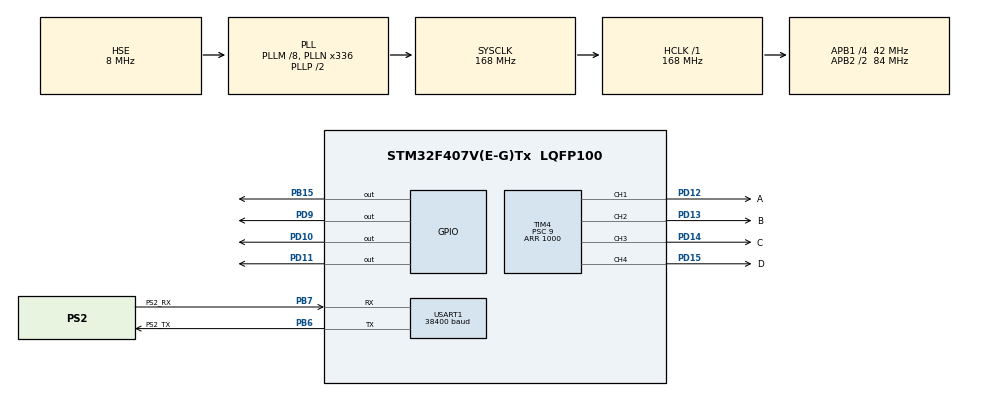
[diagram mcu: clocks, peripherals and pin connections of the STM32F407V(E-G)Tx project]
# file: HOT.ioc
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Dma.Request0=USART1_RX
Dma.USART1_RX.0.Direction=DMA_PERIPH_TO_MEMORY
Dma.USART1_RX.0.FIFOMode=DMA_FIFOMODE_DISABLE
Dma.USART1_RX.0.Instance=DMA2_Stream2
Dma.USART1_RX.0.MemDataAlignment=DMA_MDATAALIGN_BYTE
Dma.USART1_RX.0.MemInc=DMA_MINC_ENABLE
Dma.USART1_RX.0.Mode=DMA_CIRCULAR
Dma.USART1_RX.0.PeriphDataAlignment=DMA_PDATAALIGN_BYTE
Dma.USART1_RX.0.PeriphInc=DMA_PINC_DISABLE
Dma.USART1_RX.0.Priority=DMA_PRIORITY_LOW
Mcu.Family=STM32F4
Mcu.Name=STM32F407V(E-G)Tx
Mcu.Package=LQFP100
NVIC.DMA2_Stream2_IRQn=true\:0\:0\:false\:false\:true\:false
NVIC.PriorityGroup=NVIC_PRIORITYGROUP_4
NVIC.TIM6_DAC_IRQn=true\:0\:0\:false\:false\:true\:true
NVIC.USART1_IRQn=true\:0\:0\:false\:false\:true\:true
PB15.GPIO_ModeDefaultOutputPP=GPIO_MODE_OUTPUT_PP
PB15.GPIO_PuPd=GPIO_NOPULL
PB15.GPIO_Speed=GPIO_SPEED_FREQ_VERY_HIGH
PB15.Signal=GPIO_Output
PB6.GPIO_Label=PS2_TX
PB6.GPIO_PuPd=GPIO_PULLUP
PB6.Mode=Asynchronous
PB6.Signal=USART1_TX
PB7.GPIO_Label=PS2_RX
PB7.GPIO_PuPd=GPIO_PULLUP
PB7.Mode=Asynchronous
PB7.Signal=USART1_RX
PD10.GPIO_ModeDefaultOutputPP=GPIO_MODE_OUTPUT_PP
PD10.GPIO_PuPd=GPIO_NOPULL
PD10.GPIO_Speed=GPIO_SPEED_FREQ_VERY_HIGH
PD10.Signal=GPIO_Output
PD11.GPIO_ModeDefaultOutputPP=GPIO_MODE_OUTPUT_PP
PD11.GPIO_PuPd=GPIO_NOPULL
PD11.GPIO_Speed=GPIO_SPEED_FREQ_VERY_HIGH
PD11.Signal=GPIO_Output
PD12.GPIO_Label=A
PD12.GPIO_ModeDefaultPP=GPIO_MODE_AF_PP
PD12.GPIO_PuPd=GPIO_NOPULL
PD12.GPIO_Speed=GPIO_SPEED_FREQ_VERY_HIGH
PD12.Signal=S_TIM4_CH1
PD13.GPIO_Label=B
PD13.GPIO_ModeDefaultPP=GPIO_MODE_AF_PP
PD13.GPIO_PuPd=GPIO_NOPULL
PD13.GPIO_Speed=GPIO_SPEED_FREQ_VERY_HIGH
PD13.Signal=S_TIM4_CH2
PD14.GPIO_Label=C
PD14.GPIO_ModeDefaultPP=GPIO_MODE_AF_PP
PD14.GPIO_PuPd=GPIO_NOPULL
PD14.GPIO_Speed=GPIO_SPEED_FREQ_VERY_HIGH
PD14.Signal=S_TIM4_CH3
PD15.GPIO_Label=D
PD15.GPIO_ModeDefaultPP=GPIO_MODE_AF_PP
PD15.GPIO_PuPd=GPIO_NOPULL
PD15.GPIO_Speed=GPIO_SPEED_FREQ_VERY_HIGH
PD15.Signal=S_TIM4_CH4
PD9.GPIO_ModeDefaultOutputPP=GPIO_MODE_OUTPUT_PP
PD9.GPIO_PuPd=GPIO_NOPULL
PD9.GPIO_Speed=GPIO_SPEED_FREQ_VERY_HIGH
PD9.Signal=GPIO_Output
PH0-OSC_IN.Mode=HSE-External-Oscillator
PH0-OSC_IN.Signal=RCC_OSC_IN
PH1-OSC_OUT.Mode=HSE-External-Oscillator
PH1-OSC_OUT.Signal=RCC_OSC_OUT
ProjectManager.HeapSize=0x200
ProjectManager.StackSize=0x400
ProjectManager.TargetToolchain=EWARM V8
RCC.48MHZClocksFreq_Value=84000000
RCC.AHBFreq_Value=168000000
RCC.APB1CLKDivider=RCC_HCLK_DIV4
RCC.APB1Freq_Value=42000000
RCC.APB1TimFreq_Value=84000000
RCC.APB2CLKDivider=RCC_HCLK_DIV2
RCC.APB2Freq_Value=84000000
RCC.APB2TimFreq_Value=168000000
RCC.CortexFreq_Value=168000000
RCC.HCLKFreq_Value=168000000
RCC.HSE_VALUE=8000000
RCC.HSI_VALUE=16000000
RCC.LSE_VALUE=32768
RCC.PLLM=8
RCC.PLLN=336
RCC.PLLSourceVirtual=RCC_PLLSOURCE_HSE
RCC.SYSCLKFreq_VALUE=168000000
RCC.SYSCLKSource=RCC_SYSCLKSOURCE_PLLCLK
RCC.VCOOutputFreq_Value=336000000
SH.S_TIM4_CH1.0=TIM4_CH1,PWM Generation1 CH1
SH.S_TIM4_CH2.0=TIM4_CH2,PWM Generation2 CH2
SH.S_TIM4_CH3.0=TIM4_CH3,PWM Generation3 CH3
SH.S_TIM4_CH4.0=TIM4_CH4,PWM Generation4 CH4
TIM4.Channel-PWM\ Generation1\ CH1=TIM_CHANNEL_1
TIM4.Channel-PWM\ Generation2\ CH2=TIM_CHANNEL_2
TIM4.Channel-PWM\ Generation3\ CH3=TIM_CHANNEL_3
TIM4.Channel-PWM\ Generation4\ CH4=TIM_CHANNEL_4
TIM4.Period=1000
TIM4.Prescaler=9
TIM6.Period=999
TIM6.Prescaler=84
USART1.BaudRate=38400
USART1.VirtualMode=VM_ASYNC
VP_TIM4_VS_ClockSourceINT.Mode=Internal
VP_TIM6_VS_ClockSourceINT.Mode=Enable_Timer
VP_TIM7_VS_ClockSourceINT.Mode=Enable_Timer
board=custom

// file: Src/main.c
/**
******************************************************************************
* @file           : main.c
* @brief          : Main program body
******************************************************************************
** This notice applies to any and all portions of this file
* that are not between comment pairs USER CODE BEGIN and
* USER CODE END. Other portions of this file, whether
* inserted by the user or by software development tools
* are owned by their respective copyright owners.
*
* COPYRIGHT(c) 2018 STMicroelectronics
*
* Redistribution and use in source and binary forms, with or without modification,
* are permitted provided that the following conditions are met:
*   1. Redistributions of source code must retain the above copyright notice,
*      this list of conditions and the following disclaimer.
*   2. Redistributions in binary form must reproduce the above copyright notice,
*      this list of conditions and the following disclaimer in the documentation
*      and/or other materials provided with the distribution.
*   3. Neither the name of STMicroelectronics nor the names of its contributors
*      may be used to endorse or promote products derived from this software
*      without specific prior written permission.
*
* THIS SOFTWARE IS PROVIDED BY THE COPYRIGHT HOLDERS AND CONTRIBUTORS "AS IS"
* AND ANY EXPRESS OR IMPLIED WARRANTIES, INCLUDING, BUT NOT LIMITED TO, THE
* IMPLIED WARRANTIES OF MERCHANTABILITY AND FITNESS FOR A PARTICULAR PURPOSE ARE
* DISCLAIMED. IN NO EVENT SHALL THE COPYRIGHT HOLDER OR CONTRIBUTORS BE LIABLE
* FOR ANY DIRECT, INDIRECT, INCIDENTAL, SPECIAL, EXEMPLARY, OR CONSEQUENTIAL
* DAMAGES (INCLUDING, BUT NOT LIMITED TO, PROCUREMENT OF SUBSTITUTE GOODS OR
* SERVICES; LOSS OF USE, DATA, OR PROFITS; OR BUSINESS INTERRUPTION) HOWEVER
* CAUSED AND ON ANY THEORY OF LIABILITY, WHETHER IN CONTRACT, STRICT LIABILITY,
* OR TORT (INCLUDING NEGLIGENCE OR OTHERWISE) ARISING IN ANY WAY OUT OF THE USE
* OF THIS SOFTWARE, EVEN IF ADVISED OF THE POSSIBILITY OF SUCH DAMAGE.
*
******************************************************************************
*/
#include "main.h"
#include "stm32f4xx_hal.h"

TIM_HandleTypeDef htim4;
TIM_HandleTypeDef htim6;
TIM_HandleTypeDef htim7;

UART_HandleTypeDef huart1;
DMA_HandleTypeDef hdma_usart1_rx;

/* USER CODE BEGIN PV */
/* Private variables ---------------------------------------------------------*/

/* USER CODE END PV */

void SystemClock_Config(void);
static void MX_GPIO_Init(void);
static void MX_DMA_Init(void);
static void MX_USART1_UART_Init(void);
static void MX_TIM4_Init(void);
static void MX_TIM6_Init(void);
static void MX_TIM7_Init(void);
void HAL_TIM_MspPostInit(TIM_HandleTypeDef *htim);

/* USER CODE BEGIN PFP */
/* Private function prototypes -----------------------------------------------*/
uint8_t Data[7];
uint8_t LX,LY,RX,RY,BIT1,BIT2;
uint16_t  MaxSp=1000,   MinSp=20 ,Stop =5, speed;
/* USER CODE END PFP */

/* USER CODE BEGIN 0 */

void giatoc(float Speednow ){
  if(Speednow > speed){
    speed=5;
  }
  if (Speednow < speed){
    speed-=5;}
  __HAL_TIM_SET_COMPARE(&htim4,TIM_CHANNEL_1,speed);
  __HAL_TIM_SET_COMPARE(&htim4,TIM_CHANNEL_2,speed);
  __HAL_TIM_SET_COMPARE(&htim4,TIM_CHANNEL_3,speed);
}

void divdc(float div ){
  if (div ==0){
    HAL_GPIO_WritePin(GPIOD,GPIO_PIN_11,GPIO_PIN_RESET);
    HAL_GPIO_WritePin(GPIOD,GPIO_PIN_10,GPIO_PIN_RESET);
    HAL_GPIO_WritePin(GPIOD,GPIO_PIN_9,GPIO_PIN_RESET);
  }
  else
  {
    HAL_GPIO_WritePin(GPIOD,GPIO_PIN_11,GPIO_PIN_SET);
    HAL_GPIO_WritePin(GPIOD,GPIO_PIN_10,GPIO_PIN_SET);
    HAL_GPIO_WritePin(GPIOD,GPIO_PIN_9,GPIO_PIN_SET);
  }

}

void dkdc(float vt,float div){
giatoc(vt);
divdc(div);
}

void HAL_TIM_PeriodElapsedCallback(TIM_HandleTypeDef *htim)
{
  if(htim->Instance==htim7.Instance)
  {
    if(Data[0]!=1)
    {
      HAL_UART_DMAStop(&huart1);
      HAL_UART_Receive_DMA(&huart1,(uint8_t*)Data,7);

    }
    LY=Data[6];
    LX=Data[5];
    RY=Data[4];
    RX=Data[3];
    BIT1=Data[1];
    BIT2=Data[2];
  }
  if (htim->Instance== htim6.Instance)
  {
    chaydongco();
  }
}

/* USER CODE END 0 */

int main(void)
{

  /* MCU Configuration----------------------------------------------------------*/

  /* Reset of all peripherals, Initializes the Flash interface and the Systick. */
  HAL_Init();

  /* Configure the system clock */
  SystemClock_Config();

  /* Initialize all configured peripherals */
  MX_GPIO_Init();
  MX_DMA_Init();
  MX_USART1_UART_Init();
  MX_TIM4_Init();
  MX_TIM6_Init();
  MX_TIM7_Init();
  /* USER CODE BEGIN 2 */
  HAL_TIM_Base_Start_IT(&htim7);
  HAL_TIM_Base_Start_IT(&htim6);
  HAL_TIM_PWM_Start (&htim4,TIM_CHANNEL_1);
  HAL_TIM_PWM_Start (&htim4,TIM_CHANNEL_2);
  HAL_TIM_PWM_Start (&htim4,TIM_CHANNEL_3);
  HAL_TIM_PWM_Start (&htim4,TIM_CHANNEL_4);
  /* USER CODE END 2 */

  /* Infinite loop */
  while (1)
  {

    /* USER CODE BEGIN 3 */
    if (RX==128&&RY==128&&LX==128&&LY==128){
      //chaydongco(x,y,z,d);
    }
    /* USER CODE END 3 */

  }
}
void SystemClock_Config(void)
{

  RCC_OscInitTypeDef RCC_OscInitStruct;
  RCC_ClkInitTypeDef RCC_ClkInitStruct;

  /**Configure the main internal regulator output voltage
  */
  __HAL_RCC_PWR_CLK_ENABLE();

  __HAL_PWR_VOLTAGESCALING_CONFIG(PWR_REGULATOR_VOLTAGE_SCALE1);

  /**Initializes the CPU, AHB and APB busses clocks
  */
  RCC_OscInitStruct.OscillatorType = RCC_OSCILLATORTYPE_HSE;
  RCC_OscInitStruct.HSEState = RCC_HSE_ON;
  RCC_OscInitStruct.PLL.PLLState = RCC_PLL_ON;
  RCC_OscInitStruct.PLL.PLLSource = RCC_PLLSOURCE_HSE;
  RCC_OscInitStruct.PLL.PLLM = 8;
  RCC_OscInitStruct.PLL.PLLN = 336;
  RCC_OscInitStruct.PLL.PLLP = RCC_PLLP_DIV2;
  RCC_OscInitStruct.PLL.PLLQ = 4;
  if (HAL_RCC_OscConfig(&RCC_OscInitStruct) != HAL_OK)
  {
    _Error_Handler(__FILE__, __LINE__);
  }

  /**Initializes the CPU, AHB and APB busses clocks
  */
  RCC_ClkInitStruct.ClockType = RCC_CLOCKTYPE_HCLK|RCC_CLOCKTYPE_SYSCLK
    |RCC_CLOCKTYPE_PCLK1|RCC_CLOCKTYPE_PCLK2;
  RCC_ClkInitStruct.SYSCLKSource = RCC_SYSCLKSOURCE_PLLCLK;
  RCC_ClkInitStruct.AHBCLKDivider = RCC_SYSCLK_DIV1;
  RCC_ClkInitStruct.APB1CLKDivider = RCC_HCLK_DIV4;
  RCC_ClkInitStruct.APB2CLKDivider = RCC_HCLK_DIV2;

  if (HAL_RCC_ClockConfig(&RCC_ClkInitStruct, FLASH_LATENCY_5) != HAL_OK)
  {
    _Error_Handler(__FILE__, __LINE__);
  }

  /**Configure the Systick interrupt time
  */
  HAL_SYSTICK_Config(HAL_RCC_GetHCLKFreq()/1000);

  /**Configure the Systick
  */
  HAL_SYSTICK_CLKSourceConfig(SYSTICK_CLKSOURCE_HCLK);

  /* SysTick_IRQn interrupt configuration */
  HAL_NVIC_SetPriority(SysTick_IRQn, 0, 0);
}

/* TIM4 init function */
static void MX_TIM4_Init(void)
{

  TIM_ClockConfigTypeDef sClockSourceConfig;
  TIM_MasterConfigTypeDef sMasterConfig;
  TIM_OC_InitTypeDef sConfigOC;

  htim4.Instance = TIM4;
  htim4.Init.Prescaler = 9;
  htim4.Init.CounterMode = TIM_COUNTERMODE_UP;
  htim4.Init.Period = 1000;
  htim4.Init.ClockDivision = TIM_CLOCKDIVISION_DIV1;
  if (HAL_TIM_Base_Init(&htim4) != HAL_OK)
  {
    _Error_Handler(__FILE__, __LINE__);
  }

  sClockSourceConfig.ClockSource = TIM_CLOCKSOURCE_INTERNAL;
  if (HAL_TIM_ConfigClockSource(&htim4, &sClockSourceConfig) != HAL_OK)
  {
    _Error_Handler(__FILE__, __LINE__);
  }

  if (HAL_TIM_PWM_Init(&htim4) != HAL_OK)
  {
    _Error_Handler(__FILE__, __LINE__);
  }

  sMasterConfig.MasterOutputTrigger = TIM_TRGO_RESET;
  sMasterConfig.MasterSlaveMode = TIM_MASTERSLAVEMODE_DISABLE;
  if (HAL_TIMEx_MasterConfigSynchronization(&htim4, &sMasterConfig) != HAL_OK)
  {
    _Error_Handler(__FILE__, __LINE__);
  }

  sConfigOC.OCMode = TIM_OCMODE_PWM1;
  sConfigOC.Pulse = 0;
  sConfigOC.OCPolarity = TIM_OCPOLARITY_HIGH;
  sConfigOC.OCFastMode = TIM_OCFAST_DISABLE;
  if (HAL_TIM_PWM_ConfigChannel(&htim4, &sConfigOC, TIM_CHANNEL_1) != HAL_OK)
  {
    _Error_Handler(__FILE__, __LINE__);
  }

  if (HAL_TIM_PWM_ConfigChannel(&htim4, &sConfigOC, TIM_CHANNEL_2) != HAL_OK)
  {
    _Error_Handler(__FILE__, __LINE__);
  }

  if (HAL_TIM_PWM_ConfigChannel(&htim4, &sConfigOC, TIM_CHANNEL_3) != HAL_OK)
  {
    _Error_Handler(__FILE__, __LINE__);
  }

  if (HAL_TIM_PWM_ConfigChannel(&htim4, &sConfigOC, TIM_CHANNEL_4) != HAL_OK)
  {
    _Error_Handler(__FILE__, __LINE__);
  }

  HAL_TIM_MspPostInit(&htim4);

}

/* TIM6 init function */
static void MX_TIM6_Init(void)
{

  TIM_MasterConfigTypeDef sMasterConfig;

  htim6.Instance = TIM6;
  htim6.Init.Prescaler = 84;
  htim6.Init.CounterMode = TIM_COUNTERMODE_UP;
  htim6.Init.Period = 999;
  if (HAL_TIM_Base_Init(&htim6) != HAL_OK)
  {
    _Error_Handler(__FILE__, __LINE__);
  }

  sMasterConfig.MasterOutputTrigger = TIM_TRGO_RESET;
  sMasterConfig.MasterSlaveMode = TIM_MASTERSLAVEMODE_DISABLE;
  if (HAL_TIMEx_MasterConfigSynchronization(&htim6, &sMasterConfig) != HAL_OK)
  {
    _Error_Handler(__FILE__, __LINE__);
  }

}

/* TIM7 init function */
static void MX_TIM7_Init(void)
{

  TIM_MasterConfigTypeDef sMasterConfig;

  htim7.Instance = TIM7;
  htim7.Init.Prescaler = 0;
  htim7.Init.CounterMode = TIM_COUNTERMODE_UP;
  htim7.Init.Period = 0;
  if (HAL_TIM_Base_Init(&htim7) != HAL_OK)
  {
    _Error_Handler(__FILE__, __LINE__);
  }

  sMasterConfig.MasterOutputTrigger = TIM_TRGO_RESET;
  sMasterConfig.MasterSlaveMode = TIM_MASTERSLAVEMODE_DISABLE;
  if (HAL_TIMEx_MasterConfigSynchronization(&htim7, &sMasterConfig) != HAL_OK)
  {
    _Error_Handler(__FILE__, __LINE__);
  }

}

/* USART1 init function */
static void MX_USART1_UART_Init(void)
{

  huart1.Instance = USART1;
  huart1.Init.BaudRate = 38400;
  huart1.Init.WordLength = UART_WORDLENGTH_8B;
  huart1.Init.StopBits = UART_STOPBITS_1;
  huart1.Init.Parity = UART_PARITY_NONE;
  huart1.Init.Mode = UART_MODE_TX_RX;
  huart1.Init.HwFlowCtl = UART_HWCONTROL_NONE;
  huart1.Init.OverSampling = UART_OVERSAMPLING_16;
  if (HAL_UART_Init(&huart1) != HAL_OK)
  {
    _Error_Handler(__FILE__, __LINE__);
  }

}

static void MX_DMA_Init(void)
{
  /* DMA controller clock enable */
  __HAL_RCC_DMA2_CLK_ENABLE();

  /* DMA interrupt init */
  /* DMA2_Stream2_IRQn interrupt configuration */
  HAL_NVIC_SetPriority(DMA2_Stream2_IRQn, 0, 0);
  HAL_NVIC_EnableIRQ(DMA2_Stream2_IRQn);

}

/** Configure pins as
* Analog
* Input
* Output
* EVENT_OUT
* EXTI
*/
static void MX_GPIO_Init(void)
{

  GPIO_InitTypeDef GPIO_InitStruct;

  /* GPIO Ports Clock Enable */
  __HAL_RCC_GPIOH_CLK_ENABLE();
  __HAL_RCC_GPIOB_CLK_ENABLE();
  __HAL_RCC_GPIOD_CLK_ENABLE();

  /*Configure GPIO pin Output Level */
  HAL_GPIO_WritePin(GPIOB, GPIO_PIN_15, GPIO_PIN_RESET);

  /*Configure GPIO pin Output Level */
  HAL_GPIO_WritePin(GPIOD, GPIO_PIN_9|GPIO_PIN_10|GPIO_PIN_11, GPIO_PIN_RESET);

  /*Configure GPIO pin : PB15 */
  GPIO_InitStruct.Pin = GPIO_PIN_15;
  GPIO_InitStruct.Mode = GPIO_MODE_OUTPUT_PP;
  GPIO_InitStruct.Pull = GPIO_NOPULL;
  GPIO_InitStruct.Speed = GPIO_SPEED_FREQ_VERY_HIGH;
  HAL_GPIO_Init(GPIOB, &GPIO_InitStruct);

  /*Configure GPIO pins : PD9 PD10 PD11 */
  GPIO_InitStruct.Pin = GPIO_PIN_9|GPIO_PIN_10|GPIO_PIN_11;
  GPIO_InitStruct.Mode = GPIO_MODE_OUTPUT_PP;
  GPIO_InitStruct.Pull = GPIO_NOPULL;
  GPIO_InitStruct.Speed = GPIO_SPEED_FREQ_VERY_HIGH;
  HAL_GPIO_Init(GPIOD, &GPIO_InitStruct);

}

void _Error_Handler(char *file, int line)
{
  while(1)
  {
  }
}

/************************ (C) COPYRIGHT STMicroelectronics *****END OF FILE****/
